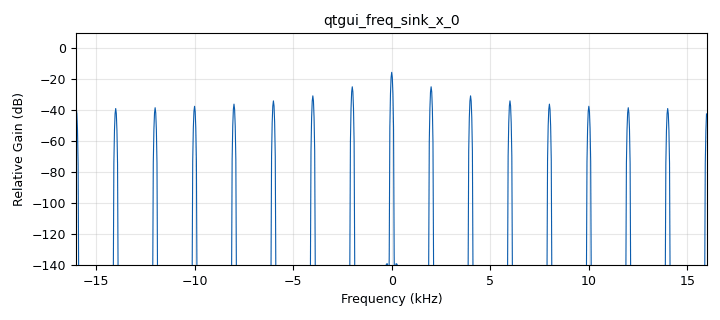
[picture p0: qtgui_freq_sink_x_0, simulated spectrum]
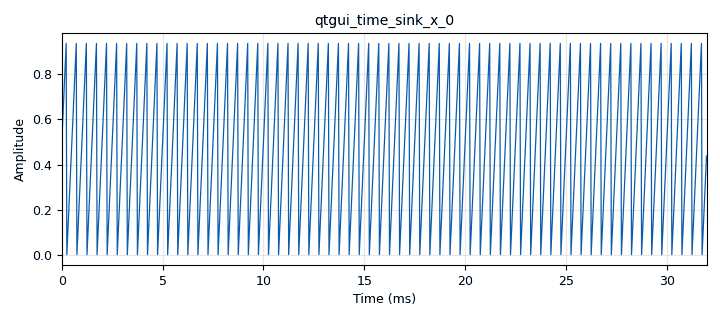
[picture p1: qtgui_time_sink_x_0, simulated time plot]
options:
  parameters:
    author: grupo G5 J1a
    generate_options: qt_gui
    id: prueba_bloque_potencia
    output_language: python
    title: prueba_bloque_potencia
  states: {}

blocks:
- name: A
  id: variable_qtgui_range
  parameters:
    start: '0'
    step: '1'
    stop: '50'
    value: '1'
  states: {}
- name: samp_rate
  id: variable
  parameters:
    value: '32000'
  states: {}
- name: CalculoPotenciaComunicaciones_0
  id: CalculoPotenciaComunicaciones
  parameters:
    l_vect: '1024'
  states: {}
- name: analog_sig_source_x_0
  id: analog_sig_source_x
  parameters:
    amp: A
    freq: '2000'
    offset: '0'
    phase: '0'
    samp_rate: samp_rate
    type: float
    waveform: analog.GR_SAW_WAVE
  states: {}
- name: qtgui_freq_sink_x_0
  id: qtgui_freq_sink_x
  parameters:
    bw: samp_rate
    fc: '0'
    fftsize: '1024'
    type: float
  states: {}
- name: qtgui_time_sink_x_0
  id: qtgui_time_sink_x
  parameters:
    autoscale: 'True'
    grid: 'True'
    size: '1024'
    srate: samp_rate
    type: float
  states: {}

connections:
- [analog_sig_source_x_0, '0', CalculoPotenciaComunicaciones_0, '0']
- [analog_sig_source_x_0, '0', qtgui_freq_sink_x_0, '0']
- [analog_sig_source_x_0, '0', qtgui_time_sink_x_0, '0']

metadata:
  file_format: 1
